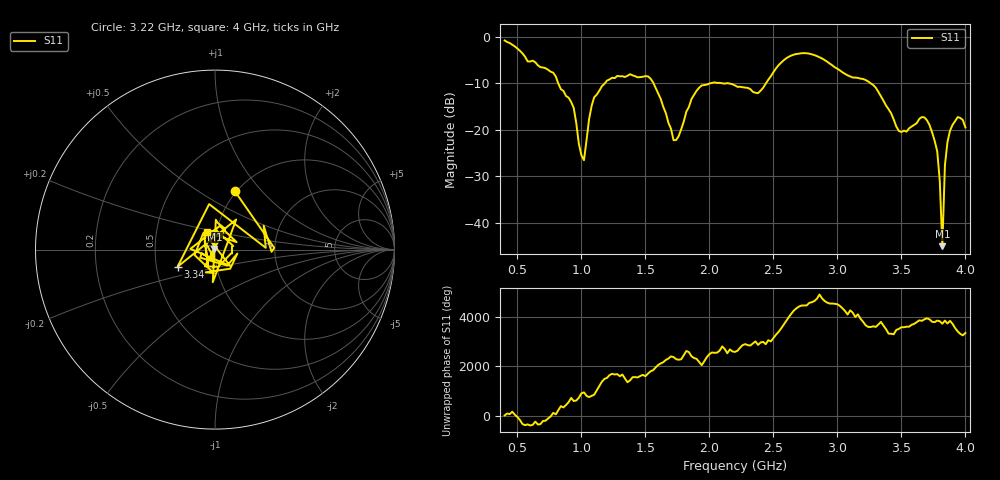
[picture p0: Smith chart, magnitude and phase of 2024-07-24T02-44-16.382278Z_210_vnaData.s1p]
!Created with skrf (http://scikit-rf.org).
# Hz S RI R 50.0
!freq ReS11 ImS11
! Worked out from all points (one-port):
!   181 points, 400 MHz to 4 GHz, reference 50 ohm
!   lowest |S11| = -44.9 dB at 3.82 GHz (marker M1), VSWR 1.01, Z = 49.6 + j0.423 ohm
!   |S11| at or under -10 dB: 818.6 MHz to 1.183 GHz (364.8 MHz wide, 36.4 % of centre); 1.563 GHz to 2.01 GHz (447.3 MHz wide, 25 % of centre); 3.259 GHz to end of sweep (the widest 3 of 5)
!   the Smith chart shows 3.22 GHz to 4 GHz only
!   S11 on the Smith chart (normalised r, x): 3.22 GHz: 0.99, +0.72; 3.34 GHz: 0.64, -0.13; 4 GHz: 0.90, +0.17
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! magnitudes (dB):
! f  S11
! 400 MHz  -0.8
! 860 MHz  -11.7
! 940 MHz  -15.3
! 980 MHz  -23.0
! 1.02 GHz  -26.5
! 1.1 GHz  -13.0
! 1.3 GHz  -8.5
! 1.54 GHz  -9.0
! 1.72 GHz  -22.2
! 1.76 GHz  -21.3
! 1.92 GHz  -11.0
! 2.2 GHz  -10.5
! 2.38 GHz  -12.1
! 2.66 GHz  -3.9
! 3.1 GHz  -8.5
! 3.22 GHz  -9.3
! 3.34 GHz  -12.8
! 3.48 GHz  -20.2
! 3.56 GHz  -19.7
! 3.68 GHz  -17.3
! 3.76 GHz  -22.4
! 3.78 GHz  -24.6
! 3.8 GHz  -31.0
! 3.82 GHz  -44.9
! 3.84 GHz  -27.6
! 3.86 GHz  -22.6
! 3.94 GHz  -17.3
! 4 GHz  -19.5
